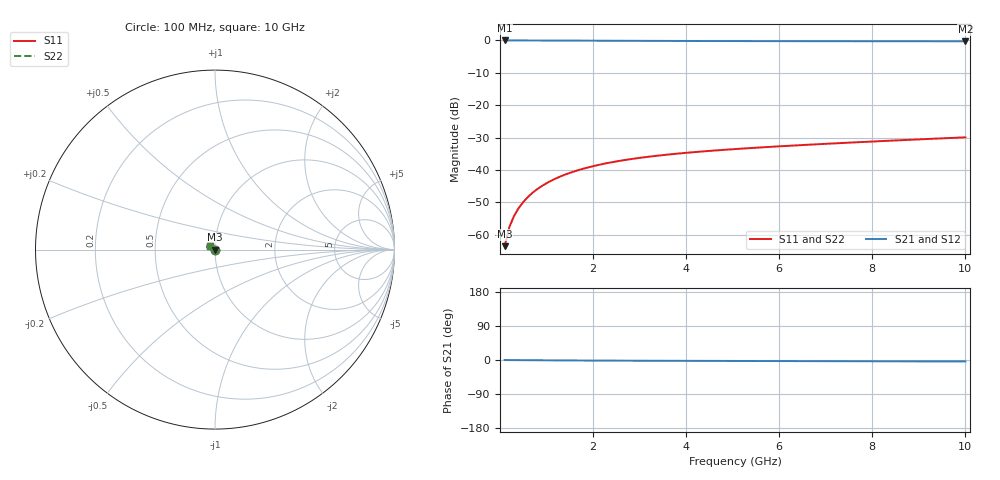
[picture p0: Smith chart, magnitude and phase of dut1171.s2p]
! Touchstone file exported from HFSS 2024.1.0
!  File:  C:/UserFiles/LocalFiles/RDL_TSV_Batchsim/temp_TSV1_1171_1780073744.aedt
!  Generated:  01:01:10 AM May 30, 2026
!  Design:  TSV1
!  Project:  temp_TSV1_1171_1780073744
!  Setup:  Setup1
!  Solution:  Sweep
! Variables:
!  dtsv = 8.34um
!  hbump = 3um
!  htsv = 54.33um
!  lrdl = 252.1521522um
!  p = 40
!  p1 = 59.09um
!  t = 500um
!  trdl = 3um
!  wrdl = 24.89489489um
# GHz S MA R 50.000000
! Terminal data exported
! Port[1] = TSV22_T1
! Port[2] = TSV22_T2
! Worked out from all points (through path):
!   100 points, 100 MHz to 10 GHz, reference 50 ohm
!   highest |S21| = 0.00 dB at 100 MHz (marker M1); lowest = -0.3 dB at 10 GHz (marker M2)
!   lowest |S11| = -63.6 dB at 100 MHz (marker M3), VSWR 1.00, Z = 50 - j0.0649 ohm
!   |S11| at or under -10 dB: start of sweep to end of sweep
!   |S22| runs from -63.6 to -29.9 dB; largest |S21 - S12| = 4.3e-15
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0.1  0.0006635 -77.9  0.9998 -0.1  0.9998 -0.1  0.0006635 -77.9
! Gamma 0 0 0 0
! Port Impedance 50 0 50 0
0.2  0.001294 -87.5  0.9997 -0.2  0.9997 -0.2  0.001294 -87.5
0.3  0.001929 -92.4  0.9996 -0.3  0.9996 -0.3  0.001929 -92.4
0.4  0.002563 -96.1  0.9994 -0.4  0.9994 -0.4  0.002563 -96.1
0.5  0.003192 -99.2  0.9991 -0.4  0.9991 -0.4  0.003192 -99.2
0.6  0.003815 -102.1  0.9988 -0.5  0.9988 -0.5  0.003815 -102.1
0.7  0.004432 -104.8  0.9984 -0.6  0.9984 -0.6  0.004432 -104.8
0.8  0.00504 -107.4  0.998 -0.7  0.998 -0.7  0.00504 -107.4
0.9  0.005639 -110.0  0.9976 -0.8  0.9976 -0.8  0.005639 -110.0
1.1  0.006804 -114.8  0.9967 -0.9  0.9967 -0.9  0.006804 -114.8
1.4  0.008462 -121.6  0.995 -1.1  0.995 -1.1  0.008462 -121.6
1.6  0.009501 -125.9  0.9939 -1.2  0.9939 -1.2  0.009501 -125.9
1.8  0.01049 -130.1  0.9927 -1.4  0.9927 -1.4  0.01049 -130.1
2.1  0.01186 -136.0  0.9909 -1.5  0.9909 -1.5  0.01186 -136.0
2.5  0.01352 -143.3  0.9886 -1.7  0.9886 -1.7  0.01352 -143.3
2.9  0.01499 -150.0  0.9864 -1.9  0.9864 -1.9  0.01499 -150.0
3.4  0.01663 -157.6  0.9839 -2.1  0.9839 -2.1  0.01663 -157.6
4.2  0.01888 -168.3  0.9806 -2.3  0.9806 -2.3  0.01888 -168.3
5.1  0.0211 -178.4  0.9778 -2.6  0.9778 -2.6  0.0211 -178.4
6.7  0.02465 167.2  0.9743 -3.0  0.9743 -3.0  0.02465 167.2
8.4  0.02831 155.5  0.972 -3.5  0.972 -3.5  0.02831 155.5
10  0.03185 146.8  0.9704 -3.9  0.9704 -3.9  0.03185 146.8
